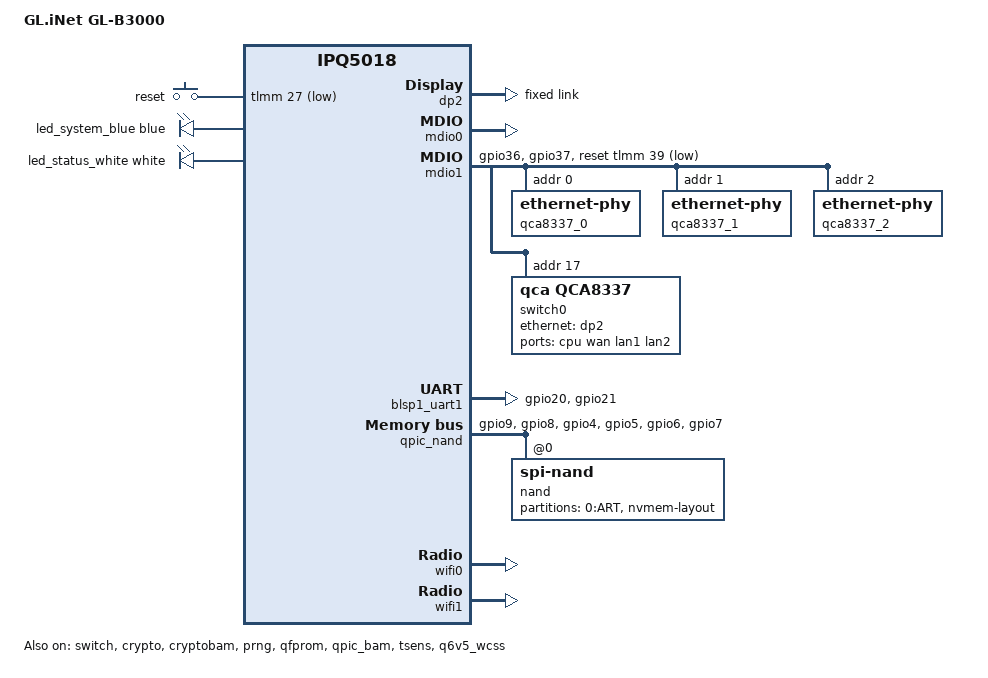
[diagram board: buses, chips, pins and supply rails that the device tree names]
// SPDX-License-Identifier: GPL-2.0-or-later OR MIT

/dts-v1/;

#include "ipq5018.dtsi"
#include "ipq5018-ess.dtsi"

#include <dt-bindings/gpio/gpio.h>
#include <dt-bindings/input/input.h>
#include <dt-bindings/leds/common.h>

/ {
	model = "GL.iNet GL-B3000";
	compatible = "glinet,gl-b3000", "qcom,ipq5018";

	aliases {
		ethernet1 = &dp2;
		label-mac-device = &dp2;
		led-boot = &led_system_blue;
		led-failsafe = &led_status_white;
		led-running = &led_status_white;
		led-upgrade = &led_system_blue;
		serial0 = &blsp1_uart1;
	};

	chosen {
		bootargs-append = " root=/dev/ubiblock0_1 swiotlb=1 coherent_pool=2M";
		stdout-path = "serial0:115200n8";
	};

	keys {
		compatible = "gpio-keys";
		pinctrl-0 = <&button_pins>;
		pinctrl-names = "default";

		reset {
			label = "reset";
			gpios = <&tlmm 27 GPIO_ACTIVE_LOW>;
			linux,code = <KEY_RESTART>;
		};
	};

	leds {
		compatible = "gpio-leds";
		pinctrl-0 = <&leds_pins>;
		pinctrl-names = "default";

		led_system_blue: led_system_blue {
			color = <LED_COLOR_ID_BLUE>;
			function = LED_FUNCTION_POWER;
			gpio = <&tlmm 24 GPIO_ACTIVE_HIGH>;
		};

		led_status_white: led_status_white {
			color = <LED_COLOR_ID_WHITE>;
			function = LED_FUNCTION_POWER;
			gpio = <&tlmm 23 GPIO_ACTIVE_HIGH>;
		};
	};

	reserved-memory {
		q6_mem_regions: q6_mem_regions@4b000000 {
			no-map;
			reg = <0x0 0x4b000000 0x0 0x3000000>;
		};
	};
};

&switch {
	status = "okay";
	switch_mac_mode = <MAC_MODE_SGMII_CHANNEL0>;

	qcom,port_phyinfo {
		// MAC0 -> GE Phy -> QCA8337 Phy2
		port@0 {
			port_id = <1>;
			mdiobus = <&mdio0>;
			phy_address = <7>;
		};

		// MAC1 ---SGMII---> QCA8337 SerDes
		port@1 {
			port_id = <2>;
			forced-speed = <1000>;
			forced-duplex = <1>;
		};
	};
};

// MAC1 ---SGMII---> QCA8337 SerDes
&dp2 {
	status = "okay";
	nvmem-cells = <&macaddr_dp2>;
	nvmem-cell-names = "mac-address";

	fixed-link {
		speed = <1000>;
		full-duplex;
	};
};

&mdio0 {
	status = "okay";
};

&mdio1 {
	status = "okay";
	pinctrl-0 = <&mdio1_pins>;
	pinctrl-names = "default";
	reset-gpios = <&tlmm 39 GPIO_ACTIVE_LOW>;

	// QCA8337 Phy0 -> WAN
	qca8337_0: ethernet-phy@0 {
		reg = <0>;
	};

	// QCA8337 Phy1 -> LAN1
	qca8337_1: ethernet-phy@1 {
		reg = <1>;
	};

	// QCA8337 Phy3 -> LAN2
	qca8337_2: ethernet-phy@2 {
		reg = <2>;
	};

	// QCA8337 switch
	switch0: ethernet-switch@17 {
		compatible = "qca,qca8337";
		reg = <17>;
		#address-cells = <1>;
		#size-cells = <0>;

		ports {
			#address-cells = <1>;
			#size-cells = <0>;

			switch0cpu: port@0 {
				reg = <0>;
				label = "cpu";
				phy-mode = "sgmii";
				ethernet = <&dp2>;
				qca,sgmii-enable-pll;

				fixed-link {
					speed = <1000>;
					full-duplex;
				};
			};

			// QCA8337 Phy0 -> WAN
			port@1 {
				reg = <1>;
				label = "wan";
				phy-handle = <&qca8337_0>;
			};

			// QCA8337 Phy1 -> LAN1
			port@2 {
				reg = <2>;
				label = "lan1";
				phy-handle = <&qca8337_1>;

				nvmem-cells = <&macaddr_dp2 2>;
				nvmem-cell-names = "mac-address";
			};

			// QCA8337 Phy3 -> LAN2
			port@3 {
				reg = <3>;
				label = "lan2";
				phy-handle = <&qca8337_2>;

				nvmem-cells = <&macaddr_dp2 2>;
				nvmem-cell-names = "mac-address";
			};
		};
	};
};

&sleep_clk {
	clock-frequency = <32000>;
};

&xo_board_clk {
	clock-frequency = <24000000>;
};

&blsp1_uart1 {
	pinctrl-0 = <&serial_0_pins>;
	pinctrl-names = "default";
	status = "okay";
};

&crypto {
	status = "okay";
};

&cryptobam {
	status = "okay";
};

&prng {
	status = "okay";
};

&qfprom {
	status = "okay";
};

&qpic_bam {
	status = "okay";
};

&qpic_nand {
	pinctrl-0 = <&qpic_pins>;
	pinctrl-names = "default";
	status = "okay";

	nand@0 {
		compatible = "spi-nand";
		reg = <0>;
		#address-cells = <1>;
		#size-cells = <1>;

		nand-ecc-engine = <&qpic_nand>;
		nand-bus-width = <8>;

		partitions {
			compatible = "qcom,smem-part";

			partition-0-art {
				compatible = "fixed-partitions";
				label = "0:ART";
				read-only;
				#address-cells = <1>;
				#size-cells = <1>;

				nvmem-layout {
					compatible = "fixed-layout";
					#address-cells = <1>;
					#size-cells = <1>;

					macaddr_dp2: macaddr@0 {
						compatible = "mac-base";
						#nvmem-cell-cells = <1>;
						reg = <0x0 0x6>;
					};
				};
			};
		};
	};
};

&tlmm {
	mdio1_pins: mdio-state {
		mdc-pins {
			pins = "gpio36";
			function = "mdc";
			drive-strength = <8>;
			bias-pull-up;
		};

		mdio-pins {
			pins = "gpio37";
			function = "mdio";
			drive-strength = <8>;
			bias-pull-up;
		};
	};

	leds_pins: leds-pins {
		pins = "gpio23", "gpio24";
		function = "gpio";
		drive-strength = <8>;
		bias-pull-down;
	};

	button_pins: button-pins {
		pins = "gpio27";
		function = "gpio";
		drive-strength = <8>;
		bias-pull-up;
	};

	qpic_pins: qpic-state {
		clock-pins {
			pins = "gpio9";
			function = "qspi_clk";
			drive-strength = <8>;
			bias-disable;
		};

		cs-pins {
			pins = "gpio8";
			function = "qspi_cs";
			drive-strength = <8>;
			bias-disable;
		};

		data-pins {
			pins = "gpio4", "gpio5", "gpio6", "gpio7";
			function = "qspi_data";
			drive-strength = <8>;
			bias-disable;
		};
	};

	serial_0_pins: uart0-state {
		pins = "gpio20", "gpio21";
		function = "blsp0_uart0";
		drive-strength = <8>;
		bias-disable;
	};
};

&tsens {
	status = "okay";
};

&q6v5_wcss {
	status = "okay";

	memory-region = <&q6_mem_regions>;
	firmware-name = "ath11k/IPQ5018/hw1.0/q6_fw.mdt",
			"ath11k/IPQ5018/hw1.0/m3_fw.mdt",
			"ath11k/QCN6122/hw1.0/m3_fw.mdt";

	/* B3000 currently doesn't support passing bootargs */
	/*boot-args = <					*/
			/*       type:	0x1  PCIE0	*/
			/*     length:	4		*/
			/*      PD id:	3		*/
			/* reset GPIO:	15		*/
			/*   reserved:	0 0>;		*/

	// IPQ5018
	q6_wcss_pd1: pd-1 {
		firmware-name = "ath11k/IPQ5018/hw1.0/q6_fw.mdt";

		resets =
			<&gcc GCC_WCSSAON_RESET>,
			<&gcc GCC_WCSS_BCR>,
			<&gcc GCC_CE_BCR>;
		reset-names =
			"wcss_aon_reset",
			"wcss_reset",
			"ce_reset";

		clocks =
			<&gcc GCC_WCSS_AHB_S_CLK>,
			<&gcc GCC_WCSS_ACMT_CLK>,
			<&gcc GCC_WCSS_AXI_M_CLK>;
		clock-names =
			"gcc_wcss_ahb_s_clk",
			"gcc_wcss_acmt_clk",
			"gcc_wcss_axi_m_clk";

		// qcom,halt-regs = <&tcsr_q6_block 0xa000 0xd000 0x0>;
		interrupts-extended =
			<&wcss_smp2p_in 8 IRQ_TYPE_NONE>,
			<&wcss_smp2p_in 9 IRQ_TYPE_NONE>,
			<&wcss_smp2p_in 12 IRQ_TYPE_NONE>,
			<&wcss_smp2p_in 11 IRQ_TYPE_NONE>;
		interrupt-names =
			"fatal",
			"ready",
			"spawn-ack",
			"stop-ack";

		qcom,smem-states =
			<&wcss_smp2p_out 8>,
			<&wcss_smp2p_out 9>,
			<&wcss_smp2p_out 10>;
		qcom,smem-state-names =
			"shutdown",
			"stop",
			"spawn";
	};

	// QCN6102 5G
	q6_wcss_pd3: pd-3 {
		firmware-name = "ath11k/IPQ5018/hw1.0/q6_fw.mdt";

		interrupts-extended =
			<&wcss_smp2p_in 24 IRQ_TYPE_NONE>,
			<&wcss_smp2p_in 25 IRQ_TYPE_NONE>,
			<&wcss_smp2p_in 28 IRQ_TYPE_NONE>,
			<&wcss_smp2p_in 27 IRQ_TYPE_NONE>;
		interrupt-names =
			"fatal",
			"ready",
			"spawn-ack",
			"stop-ack";

		qcom,smem-states =
			<&wcss_smp2p_out 24>,
			<&wcss_smp2p_out 25>,
			<&wcss_smp2p_out 26>;
		qcom,smem-state-names =
			"shutdown",
			"stop",
			"spawn";
	};
};

&wifi0 {
	// IPQ5018
	status = "okay";

	qcom,rproc = <&q6_wcss_pd1>;
	qcom,userpd-subsys-name = "q6v5_wcss_userpd1";
	qcom,ath11k-calibration-variant = "GL-iNet-GL-B3000";
	qcom,ath11k-fw-memory-mode = <1>;
	qcom,bdf-addr = <0x4c400000>;
};

&wifi1 {
	// QCN6102 5G
	status = "okay";

	qcom,rproc = <&q6_wcss_pd3>;
	qcom,userpd-subsys-name = "q6v5_wcss_userpd3";
	qcom,ath11k-calibration-variant = "GL-iNet-GL-B3000";
	qcom,ath11k-fw-memory-mode = <1>;
	qcom,bdf-addr = <0x4d100000>;
	qcom,m3-dump-addr = <0x4df00000>;
};
